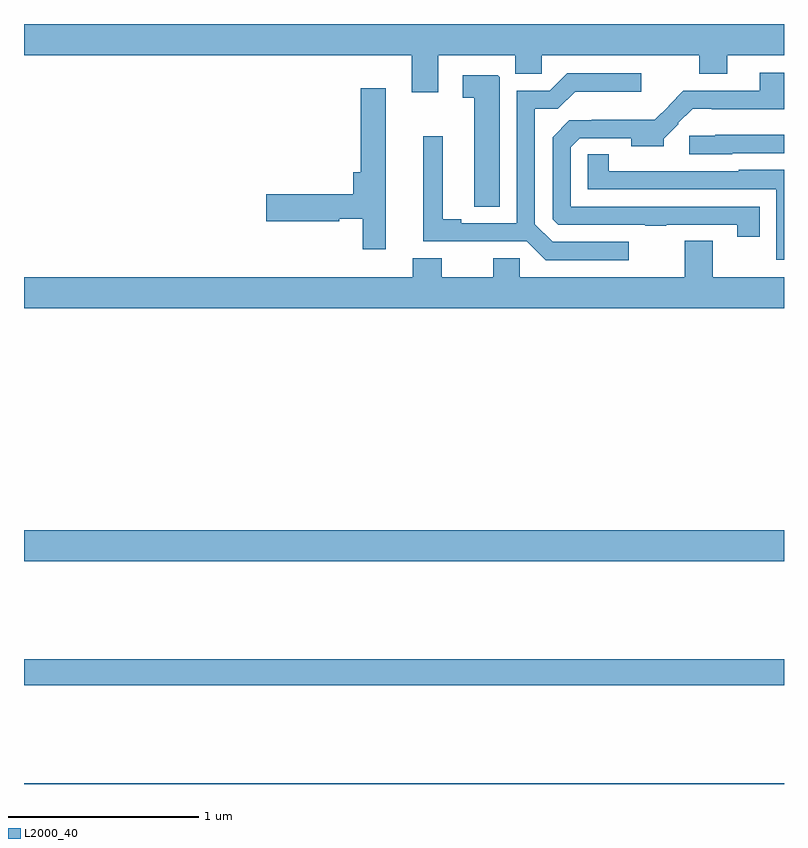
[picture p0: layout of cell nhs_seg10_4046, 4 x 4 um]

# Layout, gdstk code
import gdstk
lib = gdstk.Library(unit=1e-6, precision=1e-09)
def R(c, l, rs):  # rectangles x0, y0, x1, y1
    for r in rs: c.add(gdstk.rectangle(r[:2], r[2:], *l))
def P(c, l, *ps):  # polygons
    for p in ps: c.add(gdstk.Polygon(p, *l))
L2000_40 = (2000, 40)

nhs_seg10_4046 = lib.new_cell('nhs_seg10_4046')
R(nhs_seg10_4046, L2000_40, [(335,1276.5,339,1276.504), (335,1277.02,339,1277.156), (335,1277.672,339,1277.836)])
P(nhs_seg10_4046, L2000_40, [(337.18,1280.336),(337.586,1280.336),(337.586,1280.238),(337.725,1280.238),(337.725,1280.336),(338.554,1280.336),(338.554,1280.237),(338.701,1280.237),(338.701,1280.336),(339,1280.336),(339,1280.5),(335,1280.5),(335,1280.336),(337.04,1280.336),(337.04,1280.142),(337.18,1280.142)],
  [(338.873,1279.539),(337.878,1279.539),(337.878,1279.851),(337.926,1279.899),(338.195,1279.899),(338.195,1279.856),(338.366,1279.856),(338.366,1279.896),(338.445,1279.974),(338.442,1279.977),(338.519,1280.054),(338.62,1280.054),(338.62,1280.051),(339,1280.051),(339,1280.244),(338.873,1280.244),(338.873,1280.148),(338.469,1280.148),(338.393,1280.071),(338.395,1280.069),(338.321,1279.996),(337.987,1279.996),(337.987,1279.994),(337.871,1279.994),(337.782,1279.905),(337.782,1279.473),(337.812,1279.443),(338.269,1279.443),(338.269,1279.438),(338.381,1279.438),(338.381,1279.443),(338.755,1279.443),(338.755,1279.38),(338.873,1279.38)],
  [(338.182,1279.353),(337.782,1279.353),(337.689,1279.446),(337.689,1280.053),(337.81,1280.053),(337.901,1280.144),(338.248,1280.144),(338.248,1280.241),(337.86,1280.241),(337.767,1280.148),(337.593,1280.148),(337.593,1279.452),(337.3,1279.452),(337.3,1279.472),(337.204,1279.472),(337.204,1279.909),(337.1,1279.909),(337.1,1279.356),(337.646,1279.356),(337.745,1279.257),(338.182,1279.257)],
  [(337.504,1280.219),(337.494,1280.229),(337.308,1280.229),(337.308,1280.113),(337.37,1280.113),(337.37,1279.537),(337.504,1279.537)],
  [(336.904,1280.161),(336.773,1280.161),(336.773,1279.72),(336.734,1279.72),(336.734,1279.604),(336.276,1279.604),(336.276,1279.462),(336.66,1279.462),(336.66,1279.474),(336.782,1279.474),(336.782,1279.314),(336.904,1279.314)],
  [(338.727,1279.821),(339,1279.821),(339,1279.918),(338.637,1279.918),(338.637,1279.911),(338.502,1279.911),(338.502,1279.815),(338.727,1279.815)],
  [(339,1279.732),(338.763,1279.732),(338.763,1279.725),(338.331,1279.725),(338.331,1279.726),(338.077,1279.726),(338.077,1279.814),(337.968,1279.814),(337.968,1279.629),(338.958,1279.629),(338.958,1279.26),(339,1279.26)],
  [(339,1279.168),(338.625,1279.168),(338.625,1279.358),(338.477,1279.358),(338.477,1279.168),(337.608,1279.168),(337.608,1279.266),(337.469,1279.266),(337.469,1279.168),(337.198,1279.168),(337.198,1279.267),(337.046,1279.267),(337.046,1279.168),(335,1279.168),(335,1279.004),(339,1279.004)])

lib.write_gds('nhs_seg10_4046.gds')
